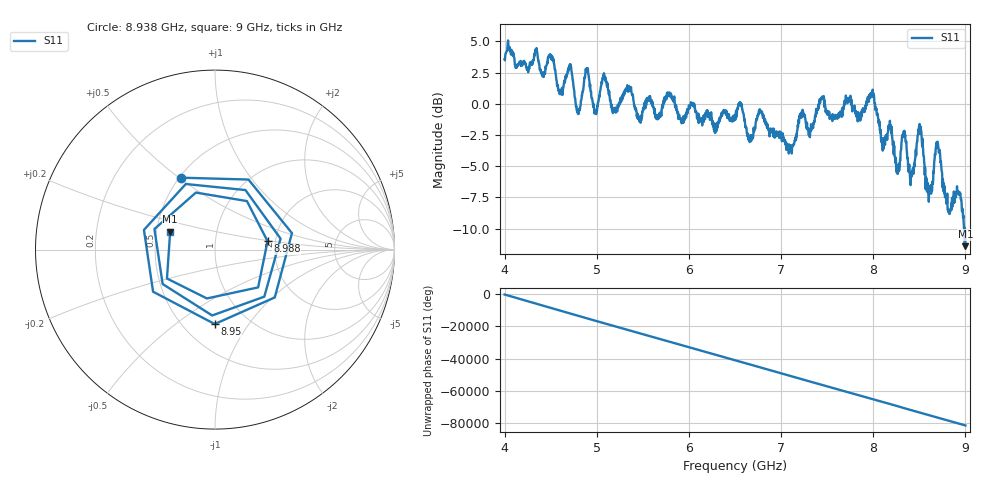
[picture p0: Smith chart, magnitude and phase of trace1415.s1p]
! Created with skrf 1.8.0 (http://scikit-rf.org).
# Hz S RI R 50.0
!freq ReS11 ImS11
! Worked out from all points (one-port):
!   1601 points, 4 GHz to 9 GHz, reference 50 ohm
!   lowest |S11| = -11.4 dB at 9 GHz (marker M1), VSWR 1.74, Z = 29.5 + j6.34 ohm
!   |S11| at or under -10 dB: 8.985048 GHz to 8.990591 GHz (5.543 MHz wide, 0.0617 % of centre); 8.991208 GHz to end of sweep
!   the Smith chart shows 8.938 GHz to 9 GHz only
!   S11 on the Smith chart (normalised r, x): 8.938 GHz: 0.51, +0.51; 8.95 GHz: 0.70, -0.71; 8.988 GHz: 1.82, +0.19; 9 GHz: 0.59, +0.13
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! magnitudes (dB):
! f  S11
! 4 GHz  3.6
! 4.5 GHz  3.9
! 4.625 GHz  1.1
! 4.709 GHz  3.0
! 4.797 GHz  -0.5
! 4.891 GHz  2.8
! 4.984 GHz  -0.6
! 5.078 GHz  2.4
! 5.25 GHz  0.2
! 5.875 GHz  -0.8
! 6.5 GHz  -0.9
! 7.125 GHz  -3.4
! 7.441 GHz  0.4
! 7.75 GHz  0.2
! 7.85 GHz  -1.3
! 7.984 GHz  0.9
! 8.259 GHz  -5.5
! 8.331 GHz  -2.2
! 8.375 GHz  -4.4
! 8.422 GHz  -5.7
! 8.503 GHz  -1.6
! 8.594 GHz  -6.5
! 8.7 GHz  -3.1
! 8.819 GHz  -8.7
! 8.938 GHz  -7.1
! 8.95 GHz  -7.6
! 8.988 GHz  -10.6
! 9 GHz  -11.4
